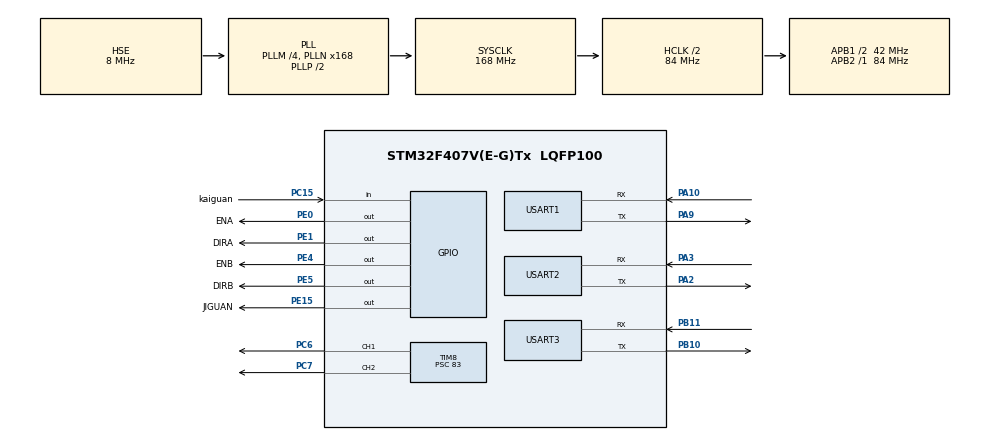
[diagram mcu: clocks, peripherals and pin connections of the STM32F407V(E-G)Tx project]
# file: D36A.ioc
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Mcu.Family=STM32F4
Mcu.Name=STM32F407V(E-G)Tx
Mcu.Package=LQFP100
NVIC.PriorityGroup=NVIC_PRIORITYGROUP_4
NVIC.TIM8_BRK_TIM12_IRQn=true\:0\:0\:false\:false\:true\:true\:true\:true
NVIC.TIM8_CC_IRQn=true\:0\:0\:false\:false\:true\:true\:true\:true
NVIC.TIM8_TRG_COM_TIM14_IRQn=true\:0\:0\:false\:false\:true\:true\:true\:true
NVIC.TIM8_UP_TIM13_IRQn=true\:0\:0\:false\:false\:true\:true\:true\:true
NVIC.USART1_IRQn=true\:0\:0\:false\:false\:true\:true\:true\:true
NVIC.USART2_IRQn=true\:0\:0\:false\:false\:true\:true\:true\:true
NVIC.USART3_IRQn=true\:0\:0\:false\:false\:true\:true\:true\:true
PA10.Mode=Asynchronous
PA10.Signal=USART1_RX
PA13.Mode=Serial_Wire
PA13.Signal=SYS_JTMS-SWDIO
PA14.Mode=Serial_Wire
PA14.Signal=SYS_JTCK-SWCLK
PA2.Mode=Asynchronous
PA2.Signal=USART2_TX
PA3.Mode=Asynchronous
PA3.Signal=USART2_RX
PA9.Mode=Asynchronous
PA9.Signal=USART1_TX
PB10.Mode=Asynchronous
PB10.Signal=USART3_TX
PB11.Mode=Asynchronous
PB11.Signal=USART3_RX
PC15-OSC32_OUT.GPIO_Label=kaiguan
PC15-OSC32_OUT.GPIO_PuPd=GPIO_PULLUP
PC15-OSC32_OUT.Signal=GPIO_Input
PC6.Signal=S_TIM8_CH1
PC7.Signal=S_TIM8_CH2
PE0.GPIO_Label=ENA
PE0.GPIO_Speed=GPIO_SPEED_FREQ_HIGH
PE0.Signal=GPIO_Output
PE1.GPIO_Label=DIRA
PE1.GPIO_Speed=GPIO_SPEED_FREQ_HIGH
PE1.Signal=GPIO_Output
PE15.GPIO_Label=JIGUAN
PE15.GPIO_ModeDefaultOutputPP=GPIO_MODE_OUTPUT_PP
PE15.GPIO_PuPd=GPIO_NOPULL
PE15.GPIO_Speed=GPIO_SPEED_FREQ_HIGH
PE15.PinState=GPIO_PIN_RESET
PE15.Signal=GPIO_Output
PE4.GPIO_Label=ENB
PE4.GPIO_Speed=GPIO_SPEED_FREQ_HIGH
PE4.Signal=GPIO_Output
PE5.GPIO_Label=DIRB
PE5.GPIO_Speed=GPIO_SPEED_FREQ_HIGH
PE5.Signal=GPIO_Output
PH0-OSC_IN.Mode=HSE-External-Oscillator
PH0-OSC_IN.Signal=RCC_OSC_IN
PH1-OSC_OUT.Mode=HSE-External-Oscillator
PH1-OSC_OUT.Signal=RCC_OSC_OUT
ProjectManager.HeapSize=0x200
ProjectManager.StackSize=0x400
ProjectManager.TargetToolchain=MDK-ARM V5.32
RCC.48MHZClocksFreq_Value=84000000
RCC.AHBCLKDivider=RCC_SYSCLK_DIV2
RCC.AHBFreq_Value=84000000
RCC.APB1CLKDivider=RCC_HCLK_DIV2
RCC.APB1Freq_Value=42000000
RCC.APB1TimFreq_Value=84000000
RCC.APB2Freq_Value=84000000
RCC.APB2TimFreq_Value=84000000
RCC.CortexFreq_Value=84000000
RCC.HCLKFreq_Value=84000000
RCC.HSE_VALUE=8000000
RCC.HSI_VALUE=16000000
RCC.LSE_VALUE=32768
RCC.PLLM=4
RCC.PLLN=168
RCC.PLLSourceVirtual=RCC_PLLSOURCE_HSE
RCC.SYSCLKFreq_VALUE=168000000
RCC.SYSCLKSource=RCC_SYSCLKSOURCE_PLLCLK
RCC.VCOOutputFreq_Value=336000000
SH.S_TIM8_CH1.0=TIM8_CH1,PWM Generation1 CH1
SH.S_TIM8_CH2.0=TIM8_CH2,PWM Generation2 CH2
TIM8.AutoReloadPreload=TIM_AUTORELOAD_PRELOAD_ENABLE
TIM8.Channel-PWM\ Generation1\ CH1=TIM_CHANNEL_1
TIM8.Channel-PWM\ Generation2\ CH2=TIM_CHANNEL_2
TIM8.Period=999
TIM8.Prescaler=83
TIM8.Pulse-PWM\ Generation1\ CH1=499
TIM8.Pulse-PWM\ Generation2\ CH2=499
USART1.VirtualMode=VM_ASYNC
USART2.VirtualMode=VM_ASYNC
USART3.VirtualMode=VM_ASYNC
VP_TIM8_VS_ClockSourceINT.Mode=Internal
board=custom

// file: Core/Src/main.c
/* USER CODE BEGIN Header */
/**
  ******************************************************************************
  * @file           : main.c
  * @brief          : Main program body
  ******************************************************************************
  * @attention
  *
  * Copyright (c) 2025 STMicroelectronics.
  * All rights reserved.
  *
  * This software is licensed under terms that can be found in the LICENSE file
  * in the root directory of this software component.
  * If no LICENSE file comes with this software, it is provided AS-IS.
  *
  ******************************************************************************
  */
/* USER CODE END Header */
#include "main.h"
#include "tim.h"
#include "usart.h"
#include "gpio.h"

/* USER CODE BEGIN Includes */
//全局变量定义
#include "stdio.h"
#include "stdlib.h"
#include "usart_handler.h"
#include "ring_buffer.h"
#include <string.h>

// 添加定时器句柄的外部声明
extern TIM_HandleTypeDef htim8;

volatile uint32_t step_count_A = 0;
volatile uint32_t step_target_A = 0;
volatile uint32_t arr_value_A = 999;
volatile uint8_t motorA_running = 0;

volatile uint32_t step_count_B = 0;
volatile uint32_t step_target_B = 0;
volatile uint32_t arr_value_B = 999;
volatile uint8_t motorB_running = 0;

volatile  int32_t steps_x  = 0 ;
volatile    int32_t steps_y  = 0 ;
uint32_t casee = 0;

volatile uint16_t kaiguan = 0;

// 添加快速转动相关的全局变量
volatile uint8_t motorA_fast_rotation = 0;  // 快速转动标志  0-2是一直循环60°转，在串口中断中设置为3
volatile uint32_t fast_rotation_timer = 0;   // 快速转动计时器

// UART环形缓冲区【通信】
RingBuffer usart1_rx_buffer = {0};
RingBuffer usart2_rx_buffer = {0};
RingBuffer usart3_rx_buffer = {0};

char rx_frame[MAX_FRAME_SIZE]; //从环形缓冲器读出第一个完整帧
uint16_t len = 0;
uint8_t rx = 0; //是否读帧
extern FrameState frame_state;
extern uint16_t frame_index;
extern uint8_t frame_buffer[MAX_FRAME_SIZE];
// 处理接收的视觉数据
uint16_t axis[2] = {0};
//初始化通信【通信】
void System_Init(void)
{
    // 初始化环形缓冲区
    RingBuffer_Init(&usart1_rx_buffer);
    RingBuffer_Init(&usart2_rx_buffer);

    // 启动串口中断接收
    HAL_UART_Receive_IT(&huart1, &usart1_rx_buffer.buffer[usart1_rx_buffer.head], 1);
    HAL_UART_Receive_IT(&huart2, &usart2_rx_buffer.buffer[usart2_rx_buffer.head], 1);
}

//第一批简单代码
//使能/失能
void MotorA_Enable(void)  { HAL_GPIO_WritePin(GPIOE, GPIO_PIN_0, GPIO_PIN_SET); }
void MotorA_Disable(void) { HAL_GPIO_WritePin(GPIOE, GPIO_PIN_0, GPIO_PIN_RESET); }
void MotorB_Enable(void)  { HAL_GPIO_WritePin(GPIOE, GPIO_PIN_4, GPIO_PIN_SET); }
void MotorB_Disable(void) { HAL_GPIO_WritePin(GPIOE, GPIO_PIN_4, GPIO_PIN_RESET); }
//方向控制         1=正转，0=反转
void MotorA_SetDir(uint8_t dir) { HAL_GPIO_WritePin(GPIOE, GPIO_PIN_1, dir ? GPIO_PIN_SET : GPIO_PIN_RESET); }
void MotorB_SetDir(uint8_t dir) { HAL_GPIO_WritePin(GPIOE, GPIO_PIN_5, dir ? GPIO_PIN_SET : GPIO_PIN_RESET); }

// freq单位：Hz     freq的范围是152.6HzD——500kHZ
void MotorA_SetSpeed(uint32_t freq)
{
	uint32_t tim8_clock = 84000000; //
	uint32_t psc = 83;              // 预分频器            1MHz定时器时钟
	uint32_t actual_clock = tim8_clock / (psc + 1); // 实际定时器时钟1MHz
    arr_value_A = (uint32_t)(actual_clock / freq) - 1; //

}

void MotorB_SetSpeed(uint32_t freq)
{   uint32_t tim8_clock = 84000000; // TIM8实际时钟84MHz
	uint32_t psc = 83;              // 预分频器
	uint32_t actual_clock = tim8_clock / (psc + 1); // 实际定时器时钟1MHz
    arr_value_B = (uint32_t)(actual_clock/ freq) - 1;

}

//第二批代码
//X轴转动函数，正数正转，负数反转。6400/（1.8/32） = 360°
void MotorA_Run(int32_t steps)
{
	if(steps != 0){
		step_count_A = 0;
		if(steps > 0)
		{
		MotorA_SetDir(1);
		step_target_A = steps;
		}
		if(steps < 0)
		{
		MotorA_SetDir(0);
		step_target_A = abs(steps)   ;

		}
		__HAL_TIM_SET_AUTORELOAD(&htim8, arr_value_A);
		__HAL_TIM_SET_COMPARE(&htim8, TIM_CHANNEL_1, arr_value_A/2);
		motorA_running = 1;
//   	 MotorA_Enable();
		HAL_TIM_PWM_Start_IT(&htim8, TIM_CHANNEL_1);
		HAL_TIM_Base_Start_IT(&htim8);
}
	else
	{
		HAL_TIM_PWM_Stop_IT(&htim8, TIM_CHANNEL_1); //关闭TIM8的ch1通道的中断
//		HAL_GPIO_WritePin(GPIOE, GPIO_PIN_15, GPIO_PIN_SET) ;
	}
}
//Y轴转动函数，正数正转，负数反转。6400/（1.8/32） = 360°
void MotorB_Run(int32_t steps)
{
	if(steps != 0)
	{
		step_count_B = 0;
		if(steps > 0)
		{
		MotorB_SetDir(1);
		step_target_B = steps;
		}
		if(steps < 0)
		{
		MotorB_SetDir(0);
		step_target_B = abs(steps)   ;

		}
		__HAL_TIM_SET_AUTORELOAD(&htim8, arr_value_B);
		__HAL_TIM_SET_COMPARE(&htim8, TIM_CHANNEL_2, arr_value_B/2);
		motorB_running = 1;
//   	 MotorB_Enable();
		HAL_StatusTypeDef status = HAL_TIM_PWM_Start_IT(&htim8, TIM_CHANNEL_2);
		HAL_TIM_Base_Start_IT(&htim8);
}
	else
	{
		HAL_TIM_PWM_Stop_IT(&htim8, TIM_CHANNEL_2);            //关闭TIM8的ch2通道的中断
	}
}

//X轴一直转动函数，即没识别到对象一直正方向转动的函数
void Run_continue(void)
{
	MotorA_SetDir(1);
	MotorA_SetSpeed(4000);
	__HAL_TIM_SET_AUTORELOAD(&htim8, arr_value_A);
    __HAL_TIM_SET_COMPARE(&htim8, TIM_CHANNEL_1, arr_value_A/2);
	HAL_TIM_PWM_Start_IT(&htim8, TIM_CHANNEL_1);
	HAL_TIM_Base_Start_IT(&htim8);

}

// 快速转动功能 - 转60度停300ms
void MotorA_FastRotate60Degrees(void)
{
    if(motorA_fast_rotation == 0) {
        // 开始快速转动
        int32_t steps = 4000;  // 60度对应的步数 (60/1.8*32)
        MotorA_SetSpeed(1000);  // 设置更高速度
        MotorA_Run(steps);
        motorA_fast_rotation = 1;
        fast_rotation_timer = HAL_GetTick();
    }

    // 处理电机A的快速转动
    if(motorA_fast_rotation == 1 && !motorA_running) {
        // 电机停止，开始等待300ms
        motorA_fast_rotation = 2;
        fast_rotation_timer = HAL_GetTick();
    }
    else if(motorA_fast_rotation == 2) {
        // 检查是否等待了300ms
        if(HAL_GetTick() - fast_rotation_timer >= 600) {
            motorA_fast_rotation = 0;  // 重置状态
               // 恢复正常速度
        }
		MotorA_SetSpeed(500);
    }
}
/* USER CODE END Includes */

/* USER CODE BEGIN PD */

//这是usart1重定向，用和电脑传输数据的【通信】
#if 1
#pragma import(__use_no_semihosting)
#endif
struct __FILE
{
	int handle;
	/* Whatever you require here. If the only file you are using is */
	/* standard output using printf() for debugging, no file handling */
	/* is required. */
};
/* FILE is typedef’ d in stdio.h. */
FILE __stdout;
//定义_sys_exit()以避免使用半主机模式
void _sys_exit(int x)
{
	x = x;
}

//重定义fputc函数
int fputc(int ch, FILE *f)
{
	while((USART1->SR&0X40)==0);//printf 定向到usartx
	USART1->DR = (uint8_t) ch;
	return ch;
}
/* USER CODE END PD */

/* USER CODE BEGIN PM */

//PID相关内容
//1. PID结构体定义
typedef struct {
    float kp;        // 比例系数
    float ki;        // 积分系数
    float kd;        // 微分系数
    float error;     // 当前误差
    float last_error; // 上次误差
    float integral;   // 积分项
    float output;     // 输出值
    float max_output; // 输出限幅
    float integral_limit; // 积分限幅
} PID_Controller;

// 为X轴和Y轴分别创建PID控制器
PID_Controller pid_x = {0};
PID_Controller pid_y = {0};

//2. PID初始化函数
 void PID_Init(PID_Controller *pid, float kp, float ki, float kd, float max_output, float integral_limit)
{
    pid->kp = kp;
    pid->ki = ki;
    pid->kd = kd;
    pid->error = 0;
    pid->last_error = 0;
    pid->integral = 0;
    pid->output = 0;
    pid->max_output = max_output;
    pid->integral_limit = integral_limit;
}

// 初始化X轴和Y轴的PID
void AimingPID_Init(void)
{
    // X轴PID参数（水平方向）
    PID_Init(&pid_x, 0.05,0.0, 0.04, 10, 50);

    // Y轴PID参数（垂直方向）
    PID_Init(&pid_y, 0.5, 0.0, 0.01, 10, 50);
}

//3. PID计算函数
float PID_Calculate(PID_Controller *pid, float setpoint, float feedback)
{
    // 计算误差
    pid->error = setpoint - feedback;

    // 比例项
    float p_term = pid->kp * pid->error;

    // 积分项
    pid->integral += pid->error;

    // 积分限幅
    if(pid->integral > pid->integral_limit) {
        pid->integral = pid->integral_limit;
    } else if(pid->integral < -pid->integral_limit) {
        pid->integral = -pid->integral_limit;
    }

    float i_term = pid->ki * pid->integral;

    // 微分项
    float d_term = pid->kd * (pid->error - pid->last_error);

    // 计算输出
    pid->output = p_term + i_term + d_term;

    // 输出限幅
    if(pid->output > pid->max_output) {
        pid->output = pid->max_output;
    } else if(pid->output < -pid->max_output) {
        pid->output = -pid->max_output;
    }

    // 更新上次误差
    pid->last_error = pid->error;

    return pid->output;
}

//4. 瞄准控制主函数
void LaserAimingPID_Control(float target_x, float target_y, float current_x, float current_y)
{
    // 计算X轴控制输出
    float output_x = PID_Calculate(&pid_x, target_x, current_x);

    // 计算Y轴控制输出
    float output_y = PID_Calculate(&pid_y, target_y, current_y);

    // 转换为步数
     steps_x = (int32_t)output_x;
     steps_y = (int32_t)output_y;

    // 死区控制，避免微小误差导致的抖动
    if(abs(steps_x) > 5) {
        MotorA_Run(steps_x);  // X轴电机

    }
    else{
		MotorA_Run(0)
		HAL_GPIO_WritePin(GPIOE, GPIO_PIN_15, GPIO_PIN_SET) ;

	}
    if(abs(steps_y) > 32) {
        MotorB_Run(steps_y);  // Y轴电机

    }
	else{
		  MotorB_Run(0)     ;
	}

    // 打印调试信息
//    printf("目标: (%.2f, %.2f), 当前: (%.2f, %.2f)\r\n",
//           target_x, target_y, current_x, current_y);
//    printf("输出: X=%d, Y=%d\r\n", steps_x, steps_y);
}

/* USER CODE END PM */

void SystemClock_Config(void);

/* USER CODE BEGIN 0 */

/**************************************************************************
函数功能：校验位计算
入口参数：需要计算校验位的数组
返回  值：无
**************************************************************************/
uint8_t Check_Sum(uint8_t *array)
{
	uint8_t result=0;
  int k=0;
	for(k=0;k<9;k++)
	{
	result=result^array[k];
	}
	return result;
}

  void Motor_Y(uint8_t speed,int8_t y_position)
  {
	                  //帧头   地址 模式  转向 细分    位置      速度    校验  帧尾巴
	  uint8_t data_1[11]={0x7b,0x01,0x02,0x01,0x20,0x00,0x00,0x00,0xC8,0x00,0x7d}     ;
	  data_1[8] = speed;
	  if(y_position > 0)
	  {
		  data_1[6] =  y_position    ;
	  }
	 else if (y_position <= 0)
	 {
		   data_1[3] = 0;
		   data_1[6] = abs( y_position);
	 }
	  data_1[9] = Check_Sum(data_1)  ;
	  Send_Packet_To_Motor(data_1,sizeof(data_1));
	 HAL_Delay(10);
  }
/* USER CODE END 0 */

int main(void)
{

  /* MCU Configuration--------------------------------------------------------*/

  /* Reset of all peripherals, Initializes the Flash interface and the Systick. */
  HAL_Init();

  /* Configure the system clock */
  SystemClock_Config();

  /* USER CODE BEGIN SysInit */

	//PID初始化函数
	AimingPID_Init ();
  /* USER CODE END SysInit */

  /* Initialize all configured peripherals */
  MX_GPIO_Init();
  MX_USART2_UART_Init();
  MX_TIM8_Init();
  MX_USART1_UART_Init();
  MX_USART3_UART_Init();
  /* USER CODE BEGIN 2 */

    // 添加这些调试信息

/* 以下是测试例子代码

	    // 电机A正转，电机B反转
//    MotorA_Enable();
//    MotorA_SetDir(1); // 1=正转，0=反转
//    MotorA_SetSpeed(1000); // 1000Hz

    MotorB_Enable();
//    MotorB_SetDir(1);
//    MotorB_SetSpeed(1000); // 500Hz
*/
	System_Init();  //初始化通信【通信】

	//等待电源上电稳定
	HAL_Delay(1000);
    //使能
	uint8_t data[11] = {0x7b,0x01,0x04,0x01,0x20,0x00,0x00,0x00,0xC8,0x97,0x7d};
//  uint8_t data[11] = {0x7b,0x01,0x01,0x01,0x20,0x00,0x00,0x00,0x64,0x3E,0x7d} ;   //一直转
	Send_Packet_To_Motor(data,sizeof(data));
	MotorA_Enable();
//    MotorB_Run(0);
    MotorA_Run(0);
	//等待使能完毕
	HAL_Delay(500);
	//设置步进电机的速度（利用频率来控制）
//	MotorA_SetSpeed(3000);   // 静态200到500比较合适

	MotorA_SetSpeed(300);   // 00Hz
//	MotorB_SetSpeed(0);
//	Run_continue();
//MotorB_Run(1800);
//MotorA_Run(0);
//	HAL_GPIO_WritePin(GPIOE, GPIO_PIN_15, GPIO_PIN_SET) ;

  /* USER CODE END 2 */

  /* Infinite loop */
  /* USER CODE BEGIN WHILE */

  //获得开关的0/1值，开关关上是0吧
 kaiguan = HAL_GPIO_ReadPin(GPIOC,GPIO_PIN_15);

  while (1)
  {

    /* USER CODE END WHILE */

    /* USER CODE BEGIN 3 */
/*	之前测试的程序
        // 可以根据motorA_running/motorB_running判断是否运动完成
//    static uint32_t last_counter = 0;
//    uint32_t current_counter = __HAL_TIM_GET_COUNTER(&htim8);
//
//    if(current_counter != last_counter)
//    {
//        printf("TIM8计数器: %d\r\n", current_counter);
//        last_counter = current_counter;
//    }
//
//    if(!motorB_running)
//    {
//        printf("所有电机已停止\r\n");
//    }
//
//    if(!motorA_running)
//		MotorA_Run(0);
//	else
//	{
//		printf("DELAY")      ;
//		HAL_Delay(3000);
//	}
*/
 /*状态机测试程序
  switch(casee)
	{
		case 0 :
			 MotorA_Run(0);  //停止
			 MotorB_Run(0);  //停止

		break;
		case 1 :
			  Run_continue();  //一直转
			  printf("一直转")  ;
			  MotorA_Run(-10);        //逆时针

		break;
		case 2 :
			MotorA_SetSpeed(500);   // 00Hz
			MotorB_SetSpeed(500);
		    MotorA_Run(10);    //顺时针
			MotorA_Run(600);

		break;
	}
		MotorA_Run(-10);
*/

	   //X轴进行中心坐标寻找
		if(kaiguan==1){
	   if(motorA_fast_rotation != 3)
	   {
		   MotorA_FastRotate60Degrees();
	   }
	   if(motorA_fast_rotation == 3)
	   {
		   LaserAimingPID_Control(320,240,axis[0],240);
	   }
   }
		if(kaiguan!= 1){
		//画圆操作

		}

	   printf("%d,%d,%d\r\n",200,axis[0],steps_x) ;

	// 处理通信测试
	if(1){
		len = GetPacket(&huart2, &usart2_rx_buffer, rx_frame);
		Process_VisionData(rx_frame,axis);
		HAL_Delay(50);
	}
  }

  /* USER CODE END 3 */
}

void SystemClock_Config(void)
{
  RCC_OscInitTypeDef RCC_OscInitStruct = {0};
  RCC_ClkInitTypeDef RCC_ClkInitStruct = {0};

  /** Configure the main internal regulator output voltage
  */
  __HAL_RCC_PWR_CLK_ENABLE();
  __HAL_PWR_VOLTAGESCALING_CONFIG(PWR_REGULATOR_VOLTAGE_SCALE1);

  /** Initializes the RCC Oscillators according to the specified parameters
  * in the RCC_OscInitTypeDef structure.
  */
  RCC_OscInitStruct.OscillatorType = RCC_OSCILLATORTYPE_HSE;
  RCC_OscInitStruct.HSEState = RCC_HSE_ON;
  RCC_OscInitStruct.PLL.PLLState = RCC_PLL_ON;
  RCC_OscInitStruct.PLL.PLLSource = RCC_PLLSOURCE_HSE;
  RCC_OscInitStruct.PLL.PLLM = 4;
  RCC_OscInitStruct.PLL.PLLN = 168;
  RCC_OscInitStruct.PLL.PLLP = RCC_PLLP_DIV2;
  RCC_OscInitStruct.PLL.PLLQ = 4;
  if (HAL_RCC_OscConfig(&RCC_OscInitStruct) != HAL_OK)
  {
    Error_Handler();
  }

  /** Initializes the CPU, AHB and APB buses clocks
  */
  RCC_ClkInitStruct.ClockType = RCC_CLOCKTYPE_HCLK|RCC_CLOCKTYPE_SYSCLK
                              |RCC_CLOCKTYPE_PCLK1|RCC_CLOCKTYPE_PCLK2;
  RCC_ClkInitStruct.SYSCLKSource = RCC_SYSCLKSOURCE_PLLCLK;
  RCC_ClkInitStruct.AHBCLKDivider = RCC_SYSCLK_DIV2;
  RCC_ClkInitStruct.APB1CLKDivider = RCC_HCLK_DIV2;
  RCC_ClkInitStruct.APB2CLKDivider = RCC_HCLK_DIV1;

  if (HAL_RCC_ClockConfig(&RCC_ClkInitStruct, FLASH_LATENCY_2) != HAL_OK)
  {
    Error_Handler();
  }
}

/* USER CODE BEGIN 4 */
//第二批简单代码
//中断回调函数
void HAL_TIM_PeriodElapsedCallback(TIM_HandleTypeDef *htim)
{
//	printf("j进入中断！");
    // 电机A
    if(htim->Instance == TIM8  && motorA_running)
    {
        step_count_A++;
//		printf("%d\r\n",step_count_A)    ;

//        if(step_count_A < 100 && arr_value_A > 499) arr_value_A -= 5;
//        else if(step_count_A > step_target_A - 100 && arr_value_A < 999) arr_value_A += 5;
//        __HAL_TIM_SET_AUTORELOAD(htim, arr_value_A);
//        __HAL_TIM_SET_COMPARE(htim, TIM_CHANNEL_1, arr_value_A/2);

        if(step_count_A >= step_target_A)
        {
//			printf("停止");
			HAL_TIM_PWM_Stop_IT(htim, TIM_CHANNEL_1); //关闭TIM8的ch1通道的中断
//			HAL_TIM_Base_Stop_IT(htim);  // 直接把定时器TIM8停止定时器关闭
 ;
//			MotorA_Disable();

//			printf("已经停止");
			motorA_running = 0;

        }
    }
    // 电机B
    if(htim->Instance == TIM8 )
    {

		if(motorB_running)
        {
        step_count_B++;
//		printf("%d\r\n",step_count_B)    ;

//        if(step_count_B < 100 && arr_value_B > 499) arr_value_B -= 5;
//        else if(step_count_B > step_target_B - 100 && arr_value_B < 999) arr_value_B += 5;
//        __HAL_TIM_SET_AUTORELOAD(htim, arr_value_B);
//        __HAL_TIM_SET_COMPARE(htim, TIM_CHANNEL_2, arr_value_B/2);

        if(step_count_B >= step_target_B)
        {
//			printf("停止");
			HAL_TIM_PWM_Stop_IT(htim, TIM_CHANNEL_2);            //关闭TIM8的ch2通道的中断
//			HAL_TIM_Base_Stop_IT(htim);  //   直接把定时器TIM8停止定时器关闭
//			MotorB_Disable();
//			printf("已经停止");
			motorB_running = 0;

        }
	}
    }
}
/* USER CODE END 4 */

void Error_Handler(void)
{
  __disable_irq();
  while (1)
  {
  }
}
